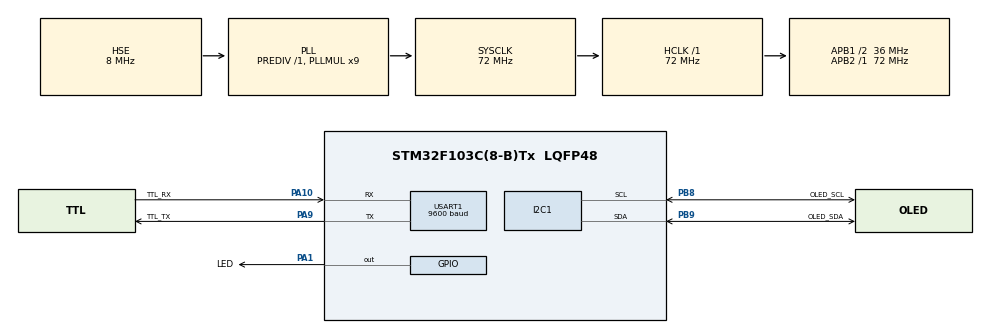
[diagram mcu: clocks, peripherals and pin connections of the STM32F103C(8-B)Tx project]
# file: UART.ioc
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Mcu.Family=STM32F1
Mcu.Name=STM32F103C(8-B)Tx
Mcu.Package=LQFP48
NVIC.PriorityGroup=NVIC_PRIORITYGROUP_4
NVIC.USART1_IRQn=true\:0\:0\:false\:false\:true\:true\:true\:true
PA0-WKUP.Mode=SYS_WakeUp0
PA0-WKUP.Signal=SYS_WKUP
PA1.GPIO_Label=LED
PA1.GPIO_Speed=GPIO_SPEED_FREQ_HIGH
PA1.PinState=GPIO_PIN_SET
PA1.Signal=GPIO_Output
PA10.GPIO_Label=TTL_RX
PA10.Mode=Asynchronous
PA10.Signal=USART1_RX
PA13.Mode=Serial_Wire
PA13.Signal=SYS_JTMS-SWDIO
PA14.Mode=Serial_Wire
PA14.Signal=SYS_JTCK-SWCLK
PA9.GPIO_Label=TTL_TX
PA9.Mode=Asynchronous
PA9.Signal=USART1_TX
PB8.GPIO_Label=OLED_SCL
PB8.Mode=I2C
PB8.Signal=I2C1_SCL
PB9.GPIO_Label=OLED_SDA
PB9.Mode=I2C
PB9.Signal=I2C1_SDA
PD0-OSC_IN.Mode=HSE-External-Oscillator
PD0-OSC_IN.Signal=RCC_OSC_IN
PD1-OSC_OUT.Mode=HSE-External-Oscillator
PD1-OSC_OUT.Signal=RCC_OSC_OUT
ProjectManager.HeapSize=0x200
ProjectManager.StackSize=0x400
ProjectManager.TargetToolchain=MDK-ARM V5
RCC.AHBFreq_Value=72000000
RCC.APB1CLKDivider=RCC_HCLK_DIV2
RCC.APB1Freq_Value=36000000
RCC.APB1TimFreq_Value=72000000
RCC.APB2Freq_Value=72000000
RCC.APB2TimFreq_Value=72000000
RCC.HCLKFreq_Value=72000000
RCC.PLLMUL=RCC_PLL_MUL9
RCC.PLLSourceVirtual=RCC_PLLSOURCE_HSE
RCC.SYSCLKFreq_VALUE=72000000
RCC.SYSCLKSource=RCC_SYSCLKSOURCE_PLLCLK
RCC.USBFreq_Value=72000000
USART1.BaudRate=9600
USART1.VirtualMode=VM_ASYNC
board=custom

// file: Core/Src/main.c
/* USER CODE BEGIN Header */
/**
  ******************************************************************************
  * @file           : main.c
  * @brief          : Main program body
  ******************************************************************************
  * @attention
  *
  * Copyright (c) 2026 STMicroelectronics.
  * All rights reserved.
  *
  * This software is licensed under terms that can be found in the LICENSE file
  * in the root directory of this software component.
  * If no LICENSE file comes with this software, it is provided AS-IS.
  *
  ******************************************************************************
  */
/* USER CODE END Header */
#include "main.h"
#include "i2c.h"
#include "usart.h"
#include "gpio.h"

/* USER CODE BEGIN Includes */
#include "string.h"
#include "../../../UART/Drivers/OLED/OLED.h"
/* USER CODE END Includes */

/* USER CODE BEGIN PTD */

// 串口接收缓冲区
uint8_t USART_RX_BUF[10];  // 接收缓冲区，最大10字节
uint8_t USART_RX_CNT = 0;  // 接收字节数
/* USER CODE END PTD */

void SystemClock_Config(void);

/* USER CODE BEGIN 0 */
void Cmd_Parse(void)
{
    // 比较接收的指令（忽略大小写，此处仅匹配大写）
    if(USART_RX_CNT == 6 && memcmp(USART_RX_BUF, "LED_ON", 6) == 0)
    {
        HAL_GPIO_WritePin(LED_GPIO_Port, LED_Pin, GPIO_PIN_RESET); // 点亮LED
        USART_RX_CNT = 0;  // 清空计数

		OLED_Clear();
        OLED_ShowString(0, 2, "LED: ON", 16, 0);

		Serial_Printf("LED 已点亮\n\r");

        USART_RX_CNT = 0;
        memset(USART_RX_BUF, 0, sizeof(USART_RX_BUF));  // 清空缓冲区
	}
    else if(USART_RX_CNT == 7 && memcmp(USART_RX_BUF, "LED_OFF", 7) == 0)
    {
        HAL_GPIO_WritePin(LED_GPIO_Port, LED_Pin, GPIO_PIN_SET);   // 熄灭LED
        USART_RX_CNT = 0;

		OLED_Clear();
        OLED_ShowString(0, 2, "LED: OFF", 16, 0);

		Serial_Printf("LED 已熄灭\n\r");

        USART_RX_CNT = 0;
        memset(USART_RX_BUF, 0, sizeof(USART_RX_BUF));
    }
    // 超出缓冲区或指令错误，清空
    else if(USART_RX_CNT >= 10)
    {
        USART_RX_CNT = 0;
        memset(USART_RX_BUF, 0, sizeof(USART_RX_BUF));
    }
}
/* USER CODE END 0 */

int main(void)
{

  /* MCU Configuration--------------------------------------------------------*/

  /* Reset of all peripherals, Initializes the Flash interface and the Systick. */
  HAL_Init();

  /* Configure the system clock */
  SystemClock_Config();

  /* Initialize all configured peripherals */
  MX_GPIO_Init();
  MX_I2C1_Init();
  MX_USART1_UART_Init();
  /* USER CODE BEGIN 2 */
	  OLED_Init();
	  OLED_Clear();

      OLED_Clear();

	  OLED_ShowCHinese(0,0,17,0);
	  OLED_ShowCHinese(16,0,18,0);
	  OLED_ShowCHinese(32,0,19,0);
	  OLED_ShowCHinese(48,0,20,0);
	  OLED_ShowCHinese(64,0,9,0);
	  OLED_ShowCHinese(80,0,10,0);

	  /*第二行*/
	  OLED_ShowCHinese(0,3,11,0);
	  OLED_ShowCHinese(16,3,12,0);
	  OLED_ShowString(32,3,"A236144",16,0);
	  OLED_ShowCHinese(80,3,24,0);
	  OLED_ShowCHinese(96,3,25,0);
	  OLED_ShowCHinese(112,3,26,0);

	  /*第三行*/
	  OLED_ShowString(0,6,"2026.5.18",16,0);

	  HAL_Delay(10000);

	  OLED_Clear();

  HAL_UART_Receive_IT(&huart1, &USART_RX_BUF[USART_RX_CNT], 1);

  /* USER CODE END 2 */

  /* Infinite loop */
  while (1)
  {
	Cmd_Parse();  // 指令解析
    HAL_Delay(10);

  }
}

void SystemClock_Config(void)
{
  RCC_OscInitTypeDef RCC_OscInitStruct = {0};
  RCC_ClkInitTypeDef RCC_ClkInitStruct = {0};

  /** Initializes the RCC Oscillators according to the specified parameters
  * in the RCC_OscInitTypeDef structure.
  */
  RCC_OscInitStruct.OscillatorType = RCC_OSCILLATORTYPE_HSE;
  RCC_OscInitStruct.HSEState = RCC_HSE_ON;
  RCC_OscInitStruct.HSEPredivValue = RCC_HSE_PREDIV_DIV1;
  RCC_OscInitStruct.HSIState = RCC_HSI_ON;
  RCC_OscInitStruct.PLL.PLLState = RCC_PLL_ON;
  RCC_OscInitStruct.PLL.PLLSource = RCC_PLLSOURCE_HSE;
  RCC_OscInitStruct.PLL.PLLMUL = RCC_PLL_MUL9;
  if (HAL_RCC_OscConfig(&RCC_OscInitStruct) != HAL_OK)
  {
    Error_Handler();
  }

  /** Initializes the CPU, AHB and APB buses clocks
  */
  RCC_ClkInitStruct.ClockType = RCC_CLOCKTYPE_HCLK|RCC_CLOCKTYPE_SYSCLK
                              |RCC_CLOCKTYPE_PCLK1|RCC_CLOCKTYPE_PCLK2;
  RCC_ClkInitStruct.SYSCLKSource = RCC_SYSCLKSOURCE_PLLCLK;
  RCC_ClkInitStruct.AHBCLKDivider = RCC_SYSCLK_DIV1;
  RCC_ClkInitStruct.APB1CLKDivider = RCC_HCLK_DIV2;
  RCC_ClkInitStruct.APB2CLKDivider = RCC_HCLK_DIV1;

  if (HAL_RCC_ClockConfig(&RCC_ClkInitStruct, FLASH_LATENCY_2) != HAL_OK)
  {
    Error_Handler();
  }
}

/* USER CODE BEGIN 4 */
// 串口接收回调函数
void HAL_UART_RxCpltCallback(UART_HandleTypeDef *huart)
{
    if(huart->Instance == USART1)
    {
        if(USART_RX_CNT < 10)
        {
			USART_RX_BUF[USART_RX_CNT] = huart->Instance->DR;
            USART_RX_CNT++;  // 收到1个字节，计数+1
        }

        // 继续等待下一个字节
        HAL_UART_Receive_IT(&huart1, &USART_RX_BUF[USART_RX_CNT], 1);
    }
}

/* USER CODE END 4 */

void Error_Handler(void)
{
  __disable_irq();
  while (1)
  {
  }
}
